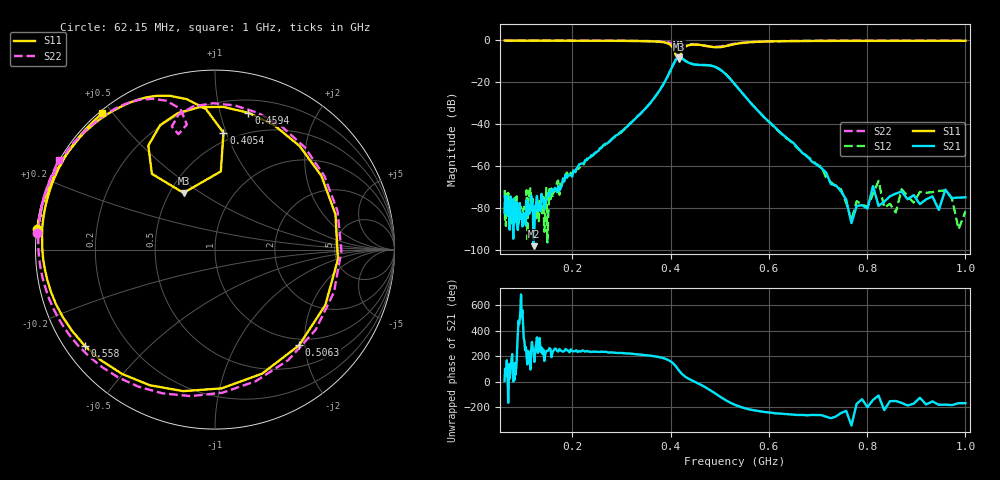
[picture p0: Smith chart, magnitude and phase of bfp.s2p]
!Agilent Technologies,N5242A,US46520174,A.09.00.04
!Agilent N5242A: A.09.00.04
!Date: Monday, September 25, 2017 14:29:41
!Correction: S11(Full 2 Port(1,2))
!S21(Full 2 Port(1,2))
!S12(Full 2 Port(1,2))
!S22(Full 2 Port(1,2))
!S2P File: Measurements: S11, S21, S12, S22:Log Frequency Sweep
# Hz S  RI  R 50
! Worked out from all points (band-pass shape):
!   201 points, 62.15 MHz to 1 GHz, reference 50 ohm
!   highest |S21| = -7.98 dB at 416.8 MHz (marker M1); lowest = -98.4 dB at 121.1 MHz (marker M2)
!   |S21| within 3 dB of the highest: 406.5 MHz to 440.4 MHz (33.93 MHz wide, 8.01 % of centre)
!   lowest |S11| = -8.8 dB at 416.8 MHz (marker M3), VSWR 2.13, Z = 29.3 + j21.3 ohm
!   |S11| at or under -10 dB: nowhere
!   |S22| runs from -3.4 to 0.0 dB; largest |S21 - S12| = 0.0024
!   S11 on the Smith chart (normalised r, x): 62.15 MHz: 0.00, +0.06; 405.4 MHz: 0.43, +0.98; 459.4 MHz: 0.31, +1.23; 506.3 MHz: 0.88, -1.88; 558 MHz: 0.06, -0.33; 1 GHz: 0.01, +0.47
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6.215394e7  -0.9903 0.1146  7.3e-05 8.96e-06  0.000264 -3.85e-05  -0.9943 0.0937
6.302332e7  -0.9894 0.1163  -3.48e-05 0.000155  2.78e-05 4.37e-05  -0.9933 0.0943
1.053682e8  -0.972 0.1934  1.9e-06 -3.76e-05  6.48e-05 -6.21e-05  -0.9741 0.1602
1.068421e8  -0.9726 0.1962  -0.000134 -7.32e-05  -2.54e-05 0.000262  -0.9756 0.1631
1.083365e8  -0.9724 0.1994  -0.000103 9.79e-05  2.46e-06 1.76e-05  -0.9771 0.1657
1.145264e8  -0.9699 0.2108  -9.56e-06 0.000102  -2.46e-05 -0.00029  -0.979 0.1756
1.210699e8  -0.9672 0.2233  -7.2e-06 -9.7e-06  3.29e-05 -9.26e-05  -0.9798 0.1859
2.20009e8  -0.8942 0.4193  -0.000483 -0.00103  -0.000498 -0.000881  -0.9276 0.3591
3.781935e8  -0.3836 0.8479  -0.0642 -0.0139  -0.0643 -0.0139  -0.5153 0.8052
4.05394e8  0.0473 0.6517  -0.2158 0.1572  -0.2163 0.1571  -0.1931 0.7849
4.168143e8  -0.1755 0.316  0.00656 0.3988  0.00577 0.3995  -0.2039 0.6426
4.593791e8  0.1865 0.7622  0.2444 -0.089  0.2438 -0.0894  0.3736 0.6847
5.062905e8  0.4683 -0.5333  -0.1197 -0.1345  -0.1204 -0.1351  0.4082 -0.6156
5.352177e8  -0.3636 -0.7556  -0.0774 0.0117  -0.0767 0.0116  -0.2925 -0.8009
5.579926e8  -0.7268 -0.5344  -0.0305 0.0219  -0.0309 0.0217  -0.6272 -0.656
6.968686e8  -0.9347 0.2821  -0.000139 0.00108  -0.000152 0.00108  -0.9841 0.0302
7.680324e8  -0.8713 0.4511  4.14e-05 1.16e-05  -2.02e-05 4.57e-05  -0.9737 0.1896
8.119142e8  -0.8279 0.5295  -0.000266 -0.000196  -0.000215 -8.55e-06  -0.9598 0.2652
8.23271e8  -0.8158 0.5476  -3.57e-05 -0.000105  -0.000339 -0.000278  -0.955 0.2832
8.464633e8  -0.792 0.5823  -0.000169 -8.45e-05  -0.000118 -3.94e-05  -0.9453 0.3171
9.591842e8  -0.6719 0.7198  -0.000271 2.99e-06  -0.000253 -6.35e-05  -0.8909 0.4563
1e9  -0.627 0.7595  -0.000174 -3.45e-05  -8.07e-05 -1.35e-05  -0.8682 0.5
